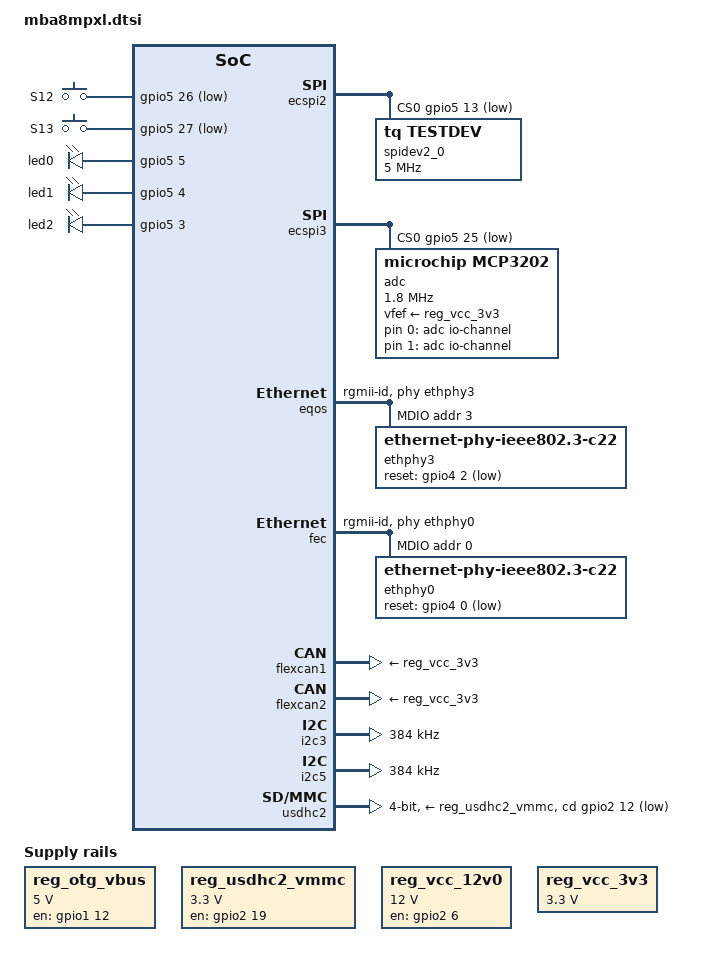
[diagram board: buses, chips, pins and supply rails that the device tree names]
// SPDX-License-Identifier: GPL-2.0-or-later OR MIT
/*
 * Copyright 2021 TQ-Systems GmbH
 */

#include <dt-bindings/net/ti-dp83867.h>

/ {
	adc {
		compatible = "iio-hwmon";
		io-channels = <&adc 0>, <&adc 1>;
	};

	backlight_lvds: backlight-lvds {
		compatible = "pwm-backlight";
		pinctrl-names = "default";
		pinctrl-0 = <&pinctrl_bllvds>;
		pwms = <&pwm2 0 5000000 0>;
		power-supply = <&reg_vcc_12v0>;
		enable-gpios = <&gpio3 19 GPIO_ACTIVE_HIGH>;
		status = "disabled";
	};

	edp_refclk: edp-refclk {
		compatible = "fixed-clock";
		#clock-cells = <0>;
		clock-frequency = <26000000>;
		status = "disabled";
	};

	fan0: pwm-fan {
		compatible = "pwm-fan";
		#cooling-cells = <2>;
		pwms = <&pwm3 0 10000 0>;
		cooling-levels = <0 102 170 230>;
		status = "disabled";
	};

	gpio-keys {
		compatible = "gpio-keys";
		pinctrl-names = "default";
		pinctrl-0 = <&pinctrl_gpiobutton>;
		autorepeat;

		switch1 {
			label = "S12";
			linux,code = <BTN_0>;
			gpios = <&gpio5 26 GPIO_ACTIVE_LOW>;
			wakeup-source;
		};

		switch2 {
			label = "S13";
			linux,code = <BTN_1>;
			gpios = <&gpio5 27 GPIO_ACTIVE_LOW>;
			wakeup-source;
		};
	};

	gpio-leds {
		compatible = "gpio-leds";
		pinctrl-names = "default";
		pinctrl-0 = <&pinctrl_gpioled>;

		led0 {
			label = "led0";
			gpios = <&gpio5 5 GPIO_ACTIVE_HIGH>;
			linux,default-trigger = "default-on";
		};

		led1 {
			label = "led1";
			gpios = <&gpio5 4 GPIO_ACTIVE_HIGH>;
			linux,default-trigger = "heartbeat";
		};

		led2 {
			label = "led2";
			gpios = <&gpio5 3 GPIO_ACTIVE_HIGH>;
		};
	};

	lvds_panel: lvds-panel {
		pinctrl-names = "default";
		pinctrl-0 = <&pinctrl_lvdspanel>;
		enable-gpios = <&gpio3 20 GPIO_ACTIVE_HIGH>;
		backlight = <&backlight_lvds>;
		status = "disabled";

		port {
			panel_in_lvds0: endpoint {
				remote-endpoint = <&lvds_out>;
			};
		};
	};

	reg_otg_vbus: regulator-otg-vbus {
		compatible = "regulator-fixed";
		pinctrl-names = "default";
		pinctrl-0 = <&pinctrl_regotgvbus>;
		regulator-name = "OTG_VBUS";
		regulator-min-microvolt = <5000000>;
		regulator-max-microvolt = <5000000>;
		gpio = <&gpio1 12 GPIO_ACTIVE_HIGH>;
		enable-active-high;
	};

	reg_usdhc2_vmmc: regulator-usdhc2 {
		compatible = "regulator-fixed";
		pinctrl-names = "default";
		pinctrl-0 = <&pinctrl_reg_usdhc2_vmmc>;
		regulator-name = "VSD_3V3";
		regulator-min-microvolt = <3300000>;
		regulator-max-microvolt = <3300000>;
		gpio = <&gpio2 19 GPIO_ACTIVE_HIGH>;
		enable-active-high;
		startup-delay-us = <100>;
		off-on-delay-us = <12000>;
	};

	reg_vcc_12v0: regulator-12v0 {
		compatible = "regulator-fixed";
		pinctrl-names = "default";
		pinctrl-0 = <&pinctrl_reg12v0>;
		regulator-name = "VCC_12V0";
		regulator-min-microvolt = <12000000>;
		regulator-max-microvolt = <12000000>;
		gpio = <&gpio2 6 GPIO_ACTIVE_HIGH>;
		enable-active-high;
	};

	reg_vcc_3v3: regulator-3v3 {
		compatible = "regulator-fixed";
		regulator-name = "VCC_3V3";
		regulator-min-microvolt = <3300000>;
		regulator-max-microvolt = <3300000>;
	};
};

&easrc {
	fsl,asrc-rate  = <48000>;
	status = "disabled";
};

&ecspi2 {
	pinctrl-names = "default";
	pinctrl-0 = <&pinctrl_ecspi2>;
	cs-gpios = <&gpio5 13 GPIO_ACTIVE_LOW>;
	status = "okay";

	spidev2_0: spidev@0 {
		reg = <0>;
		compatible = "tq,testdev";
		spi-max-frequency = <5000000>;
	};
};

&ecspi3 {
	pinctrl-names = "default";
	pinctrl-0 = <&pinctrl_ecspi3>;
	cs-gpios = <&gpio5 25 GPIO_ACTIVE_LOW>;
	status = "okay";

	adc: adc@0 {
		reg = <0>;
		compatible = "microchip,mcp3202";
		/* 100 ksps * 18 */
		spi-max-frequency = <1800000>;
		vfef-supply = <&reg_vcc_3v3>;
		#io-channel-cells = <1>;
	};
};

&eqos {
	pinctrl-names = "default";
	pinctrl-0 = <&pinctrl_eqos>, <&pinctrl_eqos_phy>;
	phy-mode = "rgmii-id";
	phy-handle = <&ethphy3>;
	status = "okay";

	mdio {
		compatible = "snps,dwmac-mdio";
		#address-cells = <1>;
		#size-cells = <0>;

		ethphy3: ethernet-phy@3 {
			compatible = "ethernet-phy-ieee802.3-c22";
			reg = <3>;
			ti,rx-internal-delay = <DP83867_RGMIIDCTL_2_25_NS>;
			ti,tx-internal-delay = <DP83867_RGMIIDCTL_2_25_NS>;
			ti,fifo-depth = <DP83867_PHYCR_FIFO_DEPTH_4_B_NIB>;
			ti,dp83867-rxctrl-strap-quirk;
			ti,clk-output-sel = <DP83867_CLK_O_SEL_OFF>;
			reset-gpios = <&gpio4 2 GPIO_ACTIVE_LOW>;
			reset-assert-us = <500000>;
			reset-deassert-us = <50000>;
			enet-phy-lane-no-swap;
			/* LED0: Link, LED2: activity */
			ti,led-function = <0x0100>;
			/* LED0/2: active High, driven by phy function */
			ti,led-ctrl = <0x1414>;
		};
	};
};

&fec {
	pinctrl-names = "default";
	pinctrl-0 = <&pinctrl_fec>, <&pinctrl_fec_phy>;
	phy-mode = "rgmii-id";
	phy-handle = <&ethphy0>;
	fsl,magic-packet;
	status = "okay";

	mdio {
		#address-cells = <1>;
		#size-cells = <0>;

		ethphy0: ethernet-phy@0 {
			compatible = "ethernet-phy-ieee802.3-c22";
			reg = <0>;
			ti,rx-internal-delay = <DP83867_RGMIIDCTL_2_25_NS>;
			ti,tx-internal-delay = <DP83867_RGMIIDCTL_2_25_NS>;
			ti,fifo-depth = <DP83867_PHYCR_FIFO_DEPTH_4_B_NIB>;
			ti,dp83867-rxctrl-strap-quirk;
			ti,clk-output-sel = <DP83867_CLK_O_SEL_OFF>;
			reset-gpios = <&gpio4 0 GPIO_ACTIVE_LOW>;
			reset-assert-us = <500000>;
			reset-deassert-us = <50000>;
			enet-phy-lane-no-swap;
			/* LED0: Link, LED2: activity */
			ti,led-function = <0x0100>;
			/* LED0/2: active High, driven by phy function */
			ti,led-ctrl = <0x1414>;
		};
	};
};

&flexcan1 {
	pinctrl-names = "default";
	pinctrl-0 = <&pinctrl_flexcan1>;
	xceiver-supply = <&reg_vcc_3v3>;
	status = "okay";
};

&flexcan2 {
	pinctrl-names = "default";
	pinctrl-0 = <&pinctrl_flexcan2>;
	xceiver-supply = <&reg_vcc_3v3>;
	status = "okay";
};

&i2c3 {
	/* Errata ERR007805: limit clk to <= 384000 Hz */
	clock-frequency = <384000>;
};

&i2c5 {
	/* Errata ERR007805: limit clk to <= 384000 Hz */
	clock-frequency = <384000>;
};

&usdhc2 {
	pinctrl-names = "default", "state_100mhz", "state_200mhz";
	pinctrl-0 = <&pinctrl_usdhc2>, <&pinctrl_usdhc2_gpio>;
	pinctrl-1 = <&pinctrl_usdhc2_100mhz>, <&pinctrl_usdhc2_gpio>;
	pinctrl-2 = <&pinctrl_usdhc2_200mhz>, <&pinctrl_usdhc2_gpio>;
	cd-gpios = <&gpio2 12 GPIO_ACTIVE_LOW>;
	vmmc-supply = <&reg_usdhc2_vmmc>;
	no-mmc;
	no-sdio;
	disable-wp;
	bus-width = <4>;
	status = "okay";
};
